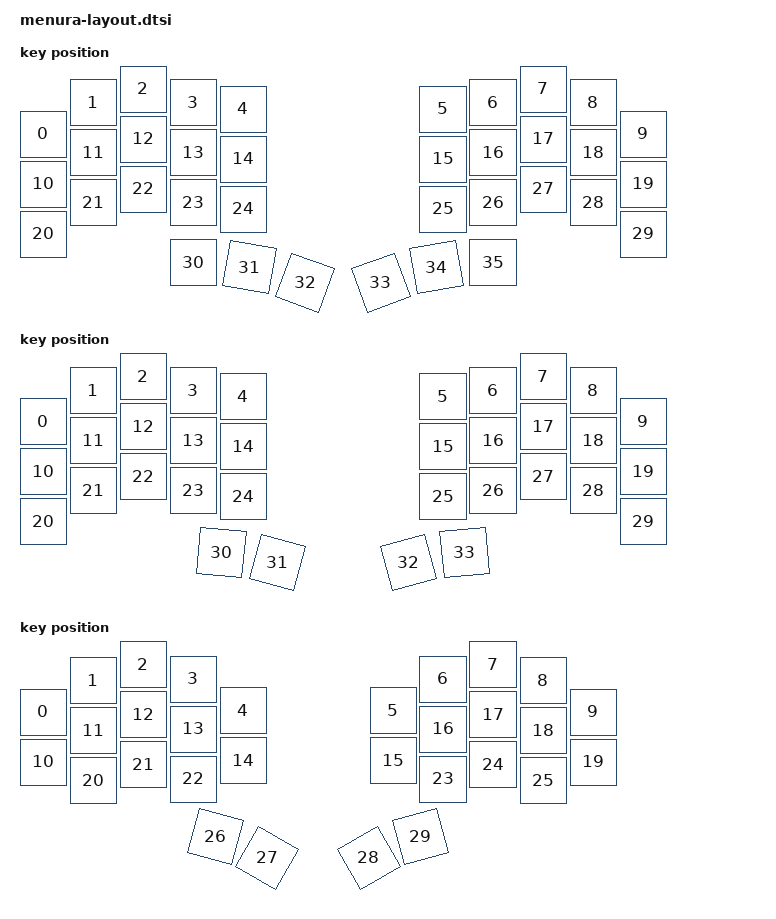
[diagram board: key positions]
#include <physical_layouts.dtsi>

/ {
    menura_3x5_3_layout: menura_3x5_3_layout {
        compatible = "zmk,physical-layout";
        display-name = "3x5 + 3";

        keys  //                     w   h    x    y     rot    rx    ry
            = <&key_physical_attrs 100 100    0   90       0     0     0>
            , <&key_physical_attrs 100 100  100   27       0     0     0>
            , <&key_physical_attrs 100 100  200    0       0     0     0>
            , <&key_physical_attrs 100 100  300   27       0     0     0>
            , <&key_physical_attrs 100 100  400   40       0     0     0>
            , <&key_physical_attrs 100 100  800   40       0     0     0>
            , <&key_physical_attrs 100 100  900   27       0     0     0>
            , <&key_physical_attrs 100 100 1000    0       0     0     0>
            , <&key_physical_attrs 100 100 1100   27       0     0     0>
            , <&key_physical_attrs 100 100 1200   90       0     0     0>
            , <&key_physical_attrs 100 100    0  190       0     0     0>
            , <&key_physical_attrs 100 100  100  127       0     0     0>
            , <&key_physical_attrs 100 100  200  100       0     0     0>
            , <&key_physical_attrs 100 100  300  127       0     0     0>
            , <&key_physical_attrs 100 100  400  140       0     0     0>
            , <&key_physical_attrs 100 100  800  140       0     0     0>
            , <&key_physical_attrs 100 100  900  127       0     0     0>
            , <&key_physical_attrs 100 100 1000  100       0     0     0>
            , <&key_physical_attrs 100 100 1100  127       0     0     0>
            , <&key_physical_attrs 100 100 1200  190       0     0     0>
            , <&key_physical_attrs 100 100    0  290       0     0     0>
            , <&key_physical_attrs 100 100  100  227       0     0     0>
            , <&key_physical_attrs 100 100  200  200       0     0     0>
            , <&key_physical_attrs 100 100  300  227       0     0     0>
            , <&key_physical_attrs 100 100  400  240       0     0     0>
            , <&key_physical_attrs 100 100  800  240       0     0     0>
            , <&key_physical_attrs 100 100  900  227       0     0     0>
            , <&key_physical_attrs 100 100 1000  200       0     0     0>
            , <&key_physical_attrs 100 100 1100  227       0     0     0>
            , <&key_physical_attrs 100 100 1200  290       0     0     0>
            , <&key_physical_attrs 100 100  300  347       0     0     0>
            , <&key_physical_attrs 100 100  405  347    1000   405   447>
            , <&key_physical_attrs 100 100  510  367    2000   510   467>
            , <&key_physical_attrs 100 100  690  367 (-2000)   790   467>
            , <&key_physical_attrs 100 100  795  347 (-1000)   895   447>
            , <&key_physical_attrs 100 100  900  347       0     0     0>
            ;
    };

    menura_3x5_2_layout: menura_3x5_2_layout {
        compatible = "zmk,physical-layout";
        display-name = "3x5 + 2";

        keys  //                     w   h    x    y     rot    rx    ry
            = <&key_physical_attrs 100 100    0   90       0     0     0>
            , <&key_physical_attrs 100 100  100   27       0     0     0>
            , <&key_physical_attrs 100 100  200    0       0     0     0>
            , <&key_physical_attrs 100 100  300   27       0     0     0>
            , <&key_physical_attrs 100 100  400   40       0     0     0>
            , <&key_physical_attrs 100 100  800   40       0     0     0>
            , <&key_physical_attrs 100 100  900   27       0     0     0>
            , <&key_physical_attrs 100 100 1000    0       0     0     0>
            , <&key_physical_attrs 100 100 1100   27       0     0     0>
            , <&key_physical_attrs 100 100 1200   90       0     0     0>
            , <&key_physical_attrs 100 100    0  190       0     0     0>
            , <&key_physical_attrs 100 100  100  127       0     0     0>
            , <&key_physical_attrs 100 100  200  100       0     0     0>
            , <&key_physical_attrs 100 100  300  127       0     0     0>
            , <&key_physical_attrs 100 100  400  140       0     0     0>
            , <&key_physical_attrs 100 100  800  140       0     0     0>
            , <&key_physical_attrs 100 100  900  127       0     0     0>
            , <&key_physical_attrs 100 100 1000  100       0     0     0>
            , <&key_physical_attrs 100 100 1100  127       0     0     0>
            , <&key_physical_attrs 100 100 1200  190       0     0     0>
            , <&key_physical_attrs 100 100    0  290       0     0     0>
            , <&key_physical_attrs 100 100  100  227       0     0     0>
            , <&key_physical_attrs 100 100  200  200       0     0     0>
            , <&key_physical_attrs 100 100  300  227       0     0     0>
            , <&key_physical_attrs 100 100  400  240       0     0     0>
            , <&key_physical_attrs 100 100  800  240       0     0     0>
            , <&key_physical_attrs 100 100  900  227       0     0     0>
            , <&key_physical_attrs 100 100 1000  200       0     0     0>
            , <&key_physical_attrs 100 100 1100  227       0     0     0>
            , <&key_physical_attrs 100 100 1200  290       0     0     0>
            , <&key_physical_attrs 100 100  352  347     500   352   447>
            , <&key_physical_attrs 100 100  458  357    1500   458   457>
            , <&key_physical_attrs 100 100  742  357 (-1500)   843   457>
            , <&key_physical_attrs 100 100  848  347  (-500)   948   447>
            ;
    };

    menura_23332_2_layout: menura_23332_2_layout {
        compatible = "zmk,physical-layout";
        display-name = "23332 + 2";

        keys  //                     w   h    x    y     rot    rx    ry
            = <&key_physical_attrs 100 100    0   95       0     0     0>
            , <&key_physical_attrs 100 100  100   32       0     0     0>
            , <&key_physical_attrs 100 100  200    0       0     0     0>
            , <&key_physical_attrs 100 100  300   29       0     0     0>
            , <&key_physical_attrs 100 100  400   92       0     0     0>
            , <&key_physical_attrs 100 100  700   92       0     0     0>
            , <&key_physical_attrs 100 100  800   29       0     0     0>
            , <&key_physical_attrs 100 100  900    0       0     0     0>
            , <&key_physical_attrs 100 100 1000   32       0     0     0>
            , <&key_physical_attrs 100 100 1100   95       0     0     0>
            , <&key_physical_attrs 100 100    0  195       0     0     0>
            , <&key_physical_attrs 100 100  100  132       0     0     0>
            , <&key_physical_attrs 100 100  200  100       0     0     0>
            , <&key_physical_attrs 100 100  300  129       0     0     0>
            , <&key_physical_attrs 100 100  400  192       0     0     0>
            , <&key_physical_attrs 100 100  700  192       0     0     0>
            , <&key_physical_attrs 100 100  800  129       0     0     0>
            , <&key_physical_attrs 100 100  900  100       0     0     0>
            , <&key_physical_attrs 100 100 1000  132       0     0     0>
            , <&key_physical_attrs 100 100 1100  195       0     0     0>
            , <&key_physical_attrs 100 100  100  232       0     0     0>
            , <&key_physical_attrs 100 100  200  200       0     0     0>
            , <&key_physical_attrs 100 100  300  229       0     0     0>
            , <&key_physical_attrs 100 100  800  229       0     0     0>
            , <&key_physical_attrs 100 100  900  200       0     0     0>
            , <&key_physical_attrs 100 100 1000  232       0     0     0>
            , <&key_physical_attrs 100 100  330  355    1500   430   455>
            , <&key_physical_attrs 100 100  430  355    3000   430   455>
            , <&key_physical_attrs 100 100  670  355 (-3000)   770   455>
            , <&key_physical_attrs 100 100  770  355 (-1500)   770   455>
            ;
    };

    menura_23333_2_layout: menura_23333_2_layout {
        compatible = "zmk,physical-layout";
        display-name = "23333 + 2";

        keys  //                     w   h    x    y     rot    rx    ry
            = <&key_physical_attrs 100 100    0   95       0     0     0>
            , <&key_physical_attrs 100 100  100   32       0     0     0>
            , <&key_physical_attrs 100 100  200    0       0     0     0>
            , <&key_physical_attrs 100 100  300   29       0     0     0>
            , <&key_physical_attrs 100 100  400   42       0     0     0>
            , <&key_physical_attrs 100 100  700   42       0     0     0>
            , <&key_physical_attrs 100 100  800   29       0     0     0>
            , <&key_physical_attrs 100 100  900    0       0     0     0>
            , <&key_physical_attrs 100 100 1000   32       0     0     0>
            , <&key_physical_attrs 100 100 1100   95       0     0     0>
            , <&key_physical_attrs 100 100    0  195       0     0     0>
            , <&key_physical_attrs 100 100  100  132       0     0     0>
            , <&key_physical_attrs 100 100  200  100       0     0     0>
            , <&key_physical_attrs 100 100  300  129       0     0     0>
            , <&key_physical_attrs 100 100  400  142       0     0     0>
            , <&key_physical_attrs 100 100  700  142       0     0     0>
            , <&key_physical_attrs 100 100  800  129       0     0     0>
            , <&key_physical_attrs 100 100  900  100       0     0     0>
            , <&key_physical_attrs 100 100 1000  132       0     0     0>
            , <&key_physical_attrs 100 100 1100  195       0     0     0>
            , <&key_physical_attrs 100 100  100  232       0     0     0>
            , <&key_physical_attrs 100 100  200  200       0     0     0>
            , <&key_physical_attrs 100 100  300  229       0     0     0>
            , <&key_physical_attrs 100 100  400  242       0     0     0>
            , <&key_physical_attrs 100 100  700  242       0     0     0>
            , <&key_physical_attrs 100 100  800  229       0     0     0>
            , <&key_physical_attrs 100 100  900  200       0     0     0>
            , <&key_physical_attrs 100 100 1000  232       0     0     0>
            , <&key_physical_attrs 100 100  330  355    1500   430   455>
            , <&key_physical_attrs 100 100  430  355    3000   430   455>
            , <&key_physical_attrs 100 100  670  355 (-3000)   770   455>
            , <&key_physical_attrs 100 100  770  355 (-1500)   770   455>
            ;
    };

    menura_33332_2_layout: menura_33332_2_layout {
        compatible = "zmk,physical-layout";
        display-name = "33332 + 2";

        keys  //                     w   h    x    y     rot    rx    ry
            = <&key_physical_attrs 100 100    0   90       0     0     0>
            , <&key_physical_attrs 100 100  100   27       0     0     0>
            , <&key_physical_attrs 100 100  200    0       0     0     0>
            , <&key_physical_attrs 100 100  300   27       0     0     0>
            , <&key_physical_attrs 100 100  400   90       0     0     0>
            , <&key_physical_attrs 100 100  800   90       0     0     0>
            , <&key_physical_attrs 100 100  900   27       0     0     0>
            , <&key_physical_attrs 100 100 1000    0       0     0     0>
            , <&key_physical_attrs 100 100 1100   27       0     0     0>
            , <&key_physical_attrs 100 100 1200   90       0     0     0>
            , <&key_physical_attrs 100 100    0  190       0     0     0>
            , <&key_physical_attrs 100 100  100  127       0     0     0>
            , <&key_physical_attrs 100 100  200  100       0     0     0>
            , <&key_physical_attrs 100 100  300  127       0     0     0>
            , <&key_physical_attrs 100 100  400  190       0     0     0>
            , <&key_physical_attrs 100 100  800  190       0     0     0>
            , <&key_physical_attrs 100 100  900  127       0     0     0>
            , <&key_physical_attrs 100 100 1000  100       0     0     0>
            , <&key_physical_attrs 100 100 1100  127       0     0     0>
            , <&key_physical_attrs 100 100 1200  190       0     0     0>
            , <&key_physical_attrs 100 100    0  290       0     0     0>
            , <&key_physical_attrs 100 100  100  227       0     0     0>
            , <&key_physical_attrs 100 100  200  200       0     0     0>
            , <&key_physical_attrs 100 100  300  227       0     0     0>
            , <&key_physical_attrs 100 100  900  227       0     0     0>
            , <&key_physical_attrs 100 100 1000  200       0     0     0>
            , <&key_physical_attrs 100 100 1100  227       0     0     0>
            , <&key_physical_attrs 100 100 1200  290       0     0     0>
            , <&key_physical_attrs 100 100  352  347     500   352   447>
            , <&key_physical_attrs 100 100  458  357    1500   458   457>
            , <&key_physical_attrs 100 100  742  357 (-1500)   843   457>
            , <&key_physical_attrs 100 100  848  347  (-500)   948   447>
            ;
    };

    menura_23332_3_layout: menura_23332_3_layout {
        compatible = "zmk,physical-layout";
        display-name = "23332 + 3";

        keys  //                     w   h    x    y     rot    rx    ry
            = <&key_physical_attrs 100 100    0   95       0     0     0>
            , <&key_physical_attrs 100 100  100   32       0     0     0>
            , <&key_physical_attrs 100 100  200    0       0     0     0>
            , <&key_physical_attrs 100 100  300   29       0     0     0>
            , <&key_physical_attrs 100 100  400   92       0     0     0>
            , <&key_physical_attrs 100 100  700   92       0     0     0>
            , <&key_physical_attrs 100 100  800   29       0     0     0>
            , <&key_physical_attrs 100 100  900    0       0     0     0>
            , <&key_physical_attrs 100 100 1000   32       0     0     0>
            , <&key_physical_attrs 100 100 1100   95       0     0     0>
            , <&key_physical_attrs 100 100    0  195       0     0     0>
            , <&key_physical_attrs 100 100  100  132       0     0     0>
            , <&key_physical_attrs 100 100  200  100       0     0     0>
            , <&key_physical_attrs 100 100  300  129       0     0     0>
            , <&key_physical_attrs 100 100  400  192       0     0     0>
            , <&key_physical_attrs 100 100  700  192       0     0     0>
            , <&key_physical_attrs 100 100  800  129       0     0     0>
            , <&key_physical_attrs 100 100  900  100       0     0     0>
            , <&key_physical_attrs 100 100 1000  132       0     0     0>
            , <&key_physical_attrs 100 100 1100  195       0     0     0>
            , <&key_physical_attrs 100 100  100  232       0     0     0>
            , <&key_physical_attrs 100 100  200  200       0     0     0>
            , <&key_physical_attrs 100 100  300  229       0     0     0>
            , <&key_physical_attrs 100 100  800  229       0     0     0>
            , <&key_physical_attrs 100 100  900  200       0     0     0>
            , <&key_physical_attrs 100 100 1000  232       0     0     0>
            , <&key_physical_attrs 100 100  300  347       0     0     0>
            , <&key_physical_attrs 100 100  405  347    1000   405   447>
            , <&key_physical_attrs 100 100  510  367    2000   510   467>
            , <&key_physical_attrs 100 100  690  367 (-2000)   790   467>
            , <&key_physical_attrs 100 100  795  347 (-1000)   895   447>
            , <&key_physical_attrs 100 100  900  347       0     0     0>
            ;
    };

    menura_23333_3_layout: menura_23333_3_layout {
        compatible = "zmk,physical-layout";
        display-name = "23333 + 3";

        keys  //                     w   h    x    y     rot    rx    ry
            = <&key_physical_attrs 100 100    0   95       0     0     0>
            , <&key_physical_attrs 100 100  100   32       0     0     0>
            , <&key_physical_attrs 100 100  200    0       0     0     0>
            , <&key_physical_attrs 100 100  300   29       0     0     0>
            , <&key_physical_attrs 100 100  400   42       0     0     0>
            , <&key_physical_attrs 100 100  700   42       0     0     0>
            , <&key_physical_attrs 100 100  800   29       0     0     0>
            , <&key_physical_attrs 100 100  900    0       0     0     0>
            , <&key_physical_attrs 100 100 1000   32       0     0     0>
            , <&key_physical_attrs 100 100 1100   95       0     0     0>
            , <&key_physical_attrs 100 100    0  195       0     0     0>
            , <&key_physical_attrs 100 100  100  132       0     0     0>
            , <&key_physical_attrs 100 100  200  100       0     0     0>
            , <&key_physical_attrs 100 100  300  129       0     0     0>
            , <&key_physical_attrs 100 100  400  142       0     0     0>
            , <&key_physical_attrs 100 100  700  142       0     0     0>
            , <&key_physical_attrs 100 100  800  129       0     0     0>
            , <&key_physical_attrs 100 100  900  100       0     0     0>
            , <&key_physical_attrs 100 100 1000  132       0     0     0>
            , <&key_physical_attrs 100 100 1100  195       0     0     0>
            , <&key_physical_attrs 100 100  100  232       0     0     0>
            , <&key_physical_attrs 100 100  200  200       0     0     0>
            , <&key_physical_attrs 100 100  300  229       0     0     0>
            , <&key_physical_attrs 100 100  400  242       0     0     0>
            , <&key_physical_attrs 100 100  700  242       0     0     0>
            , <&key_physical_attrs 100 100  800  229       0     0     0>
            , <&key_physical_attrs 100 100  900  200       0     0     0>
            , <&key_physical_attrs 100 100 1000  232       0     0     0>
            , <&key_physical_attrs 100 100  300  347       0     0     0>
            , <&key_physical_attrs 100 100  405  347    1000   405   447>
            , <&key_physical_attrs 100 100  510  367    2000   510   467>
            , <&key_physical_attrs 100 100  690  367 (-2000)   790   467>
            , <&key_physical_attrs 100 100  795  347 (-1000)   895   447>
            , <&key_physical_attrs 100 100  900  347       0     0     0>
            ;
    };

    menura_33332_3_layout: menura_33332_3_layout {
        compatible = "zmk,physical-layout";
        display-name = "33332 + 3";

        keys  //                     w   h    x    y     rot    rx    ry
            = <&key_physical_attrs 100 100    0   90       0     0     0>
            , <&key_physical_attrs 100 100  100   27       0     0     0>
            , <&key_physical_attrs 100 100  200    0       0     0     0>
            , <&key_physical_attrs 100 100  300   27       0     0     0>
            , <&key_physical_attrs 100 100  400   90       0     0     0>
            , <&key_physical_attrs 100 100  800   90       0     0     0>
            , <&key_physical_attrs 100 100  900   27       0     0     0>
            , <&key_physical_attrs 100 100 1000    0       0     0     0>
            , <&key_physical_attrs 100 100 1100   27       0     0     0>
            , <&key_physical_attrs 100 100 1200   90       0     0     0>
            , <&key_physical_attrs 100 100    0  190       0     0     0>
            , <&key_physical_attrs 100 100  100  127       0     0     0>
            , <&key_physical_attrs 100 100  200  100       0     0     0>
            , <&key_physical_attrs 100 100  300  127       0     0     0>
            , <&key_physical_attrs 100 100  400  190       0     0     0>
            , <&key_physical_attrs 100 100  800  190       0     0     0>
            , <&key_physical_attrs 100 100  900  127       0     0     0>
            , <&key_physical_attrs 100 100 1000  100       0     0     0>
            , <&key_physical_attrs 100 100 1100  127       0     0     0>
            , <&key_physical_attrs 100 100 1200  190       0     0     0>
            , <&key_physical_attrs 100 100    0  290       0     0     0>
            , <&key_physical_attrs 100 100  100  227       0     0     0>
            , <&key_physical_attrs 100 100  200  200       0     0     0>
            , <&key_physical_attrs 100 100  300  227       0     0     0>
            , <&key_physical_attrs 100 100  900  227       0     0     0>
            , <&key_physical_attrs 100 100 1000  200       0     0     0>
            , <&key_physical_attrs 100 100 1100  227       0     0     0>
            , <&key_physical_attrs 100 100 1200  290       0     0     0>
            , <&key_physical_attrs 100 100  300  347       0     0     0>
            , <&key_physical_attrs 100 100  405  347    1000   405   447>
            , <&key_physical_attrs 100 100  510  367    2000   510   467>
            , <&key_physical_attrs 100 100  690  367 (-2000)   790   467>
            , <&key_physical_attrs 100 100  795  347 (-1000)   895   447>
            , <&key_physical_attrs 100 100  900  347       0     0     0>
            ;
    };
};

